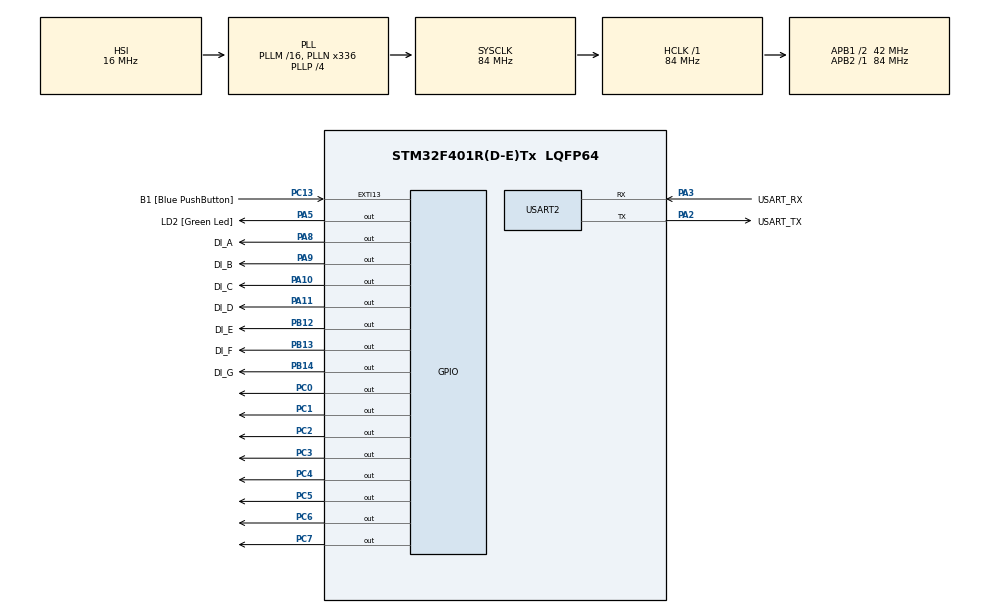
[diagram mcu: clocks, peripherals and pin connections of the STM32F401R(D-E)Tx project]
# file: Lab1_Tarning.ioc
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Mcu.Family=STM32F4
Mcu.Name=STM32F401R(D-E)Tx
Mcu.Package=LQFP64
NVIC.EXTI15_10_IRQn=true\:0\:0\:false\:false\:true\:true\:true\:true
NVIC.PriorityGroup=NVIC_PRIORITYGROUP_0
PA10.GPIO_Label=DI_C
PA10.Signal=GPIO_Output
PA11.GPIO_Label=DI_D
PA11.Signal=GPIO_Output
PA13.GPIO_Label=TMS
PA13.Mode=Serial_Wire
PA13.Signal=SYS_JTMS-SWDIO
PA14.GPIO_Label=TCK
PA14.Mode=Serial_Wire
PA14.Signal=SYS_JTCK-SWCLK
PA2.GPIO_Label=USART_TX
PA2.GPIO_Mode=GPIO_MODE_AF_PP
PA2.GPIO_PuPd=GPIO_NOPULL
PA2.GPIO_Speed=GPIO_SPEED_FREQ_LOW
PA2.Mode=Asynchronous
PA2.Signal=USART2_TX
PA3.GPIO_Label=USART_RX
PA3.GPIO_Mode=GPIO_MODE_AF_PP
PA3.GPIO_PuPd=GPIO_NOPULL
PA3.GPIO_Speed=GPIO_SPEED_FREQ_LOW
PA3.Mode=Asynchronous
PA3.Signal=USART2_RX
PA5.GPIO_Label=LD2 [Green Led]
PA5.GPIO_Mode=GPIO_MODE_OUTPUT_PP
PA5.GPIO_PuPd=GPIO_NOPULL
PA5.GPIO_Speed=GPIO_SPEED_FREQ_LOW
PA5.Signal=GPIO_Output
PA8.GPIO_Label=DI_A
PA8.Signal=GPIO_Output
PA9.GPIO_Label=DI_B
PA9.Signal=GPIO_Output
PB12.GPIO_Label=DI_E
PB12.Signal=GPIO_Output
PB13.GPIO_Label=DI_F
PB13.Signal=GPIO_Output
PB14.GPIO_Label=DI_G
PB14.Signal=GPIO_Output
PB3.GPIO_Label=SWO
PB3.Signal=SYS_JTDO-SWO
PC0.Signal=GPIO_Output
PC1.Signal=GPIO_Output
PC13-ANTI_TAMP.GPIO_Label=B1 [Blue PushButton]
PC13-ANTI_TAMP.GPIO_ModeDefaultEXTI=GPIO_MODE_IT_FALLING
PC13-ANTI_TAMP.GPIO_PuPd=GPIO_NOPULL
PC13-ANTI_TAMP.Signal=GPXTI13
PC14-OSC32_IN.Mode=LSE-External-Oscillator
PC14-OSC32_IN.Signal=RCC_OSC32_IN
PC15-OSC32_OUT.Mode=LSE-External-Oscillator
PC15-OSC32_OUT.Signal=RCC_OSC32_OUT
PC2.Signal=GPIO_Output
PC3.Signal=GPIO_Output
PC4.Signal=GPIO_Output
PC5.Signal=GPIO_Output
PC6.Signal=GPIO_Output
PC7.Signal=GPIO_Output
PH0\ -\ OSC_IN.Mode=HSE-External-Clock-Source
PH0\ -\ OSC_IN.Signal=RCC_OSC_IN
PH1\ -\ OSC_OUT.Mode=HSE-External-Clock-Source
PH1\ -\ OSC_OUT.Signal=RCC_OSC_OUT
ProjectManager.HeapSize=0x200
ProjectManager.StackSize=0x400
ProjectManager.TargetToolchain=STM32CubeIDE
RCC.48MHZClocksFreq_Value=48000000
RCC.AHBFreq_Value=84000000
RCC.APB1CLKDivider=RCC_HCLK_DIV2
RCC.APB1Freq_Value=42000000
RCC.APB1TimFreq_Value=84000000
RCC.APB2Freq_Value=84000000
RCC.APB2TimFreq_Value=84000000
RCC.CortexFreq_Value=84000000
RCC.HCLKFreq_Value=84000000
RCC.HSE_VALUE=8000000
RCC.HSI_VALUE=16000000
RCC.PLLN=336
RCC.PLLP=RCC_PLLP_DIV4
RCC.PLLQ=7
RCC.SYSCLKFreq_VALUE=84000000
RCC.SYSCLKSource=RCC_SYSCLKSOURCE_PLLCLK
RCC.VCOOutputFreq_Value=336000000
USART2.VirtualMode=VM_ASYNC
board=NUCLEO-F401RE

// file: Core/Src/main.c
/* USER CODE BEGIN Header */
/**
  ******************************************************************************
  * @file           : main.c
  * @brief          : Main program body
  ******************************************************************************
  * @attention
  *
  * Copyright (c) 2024 STMicroelectronics.
  * All rights reserved.
  *
  * This software is licensed under terms that can be found in the LICENSE file
  * in the root directory of this software component.
  * If no LICENSE file comes with this software, it is provided AS-IS.
  *
  ******************************************************************************
  */
/* USER CODE END Header */
#include "main.h"

/* USER CODE BEGIN Includes */
/* Global constants ---------------------------------------------------------*/
// Definiera en global array för att representera 7-segment display mönster
const uint8_t sseg[10] = {
    0x3F,  // 0: A, B, C, D, E, F
    0x06,  // 1: B, C
    0x5B,  // 2: A, B, G, E, D
    0x4F,  // 3: A, B, G, C, D
    0x66,  // 4: F, G, B, C
    0x6D,  // 5: A, F, G, C, D
    0x7D,  // 6: A, F, G, E, C, D
    0x07,  // 7: A, B, C
    0x7F,  // 8: A, B, C, D, E, F, G
    0x6F   // 9: A, B, C, D, F, G
};
const uint8_t sseg_err = 0xDC;
/* USER CODE END Includes */

UART_HandleTypeDef huart2;

void SystemClock_Config(void);
static void MX_GPIO_Init(void);
static void MX_USART2_UART_Init(void);
/* USER CODE BEGIN PFP */
int is_blue_button_pressed();
/* USER CODE END PFP */

/* USER CODE BEGIN 0 */

// returns 1 if blue button is pressed
// returns 0 if blue button isn't pressed
int is_blue_button_pressed()
{

	return 0;
}

void put_die_dots(uint8_t die_nbr) {
    // Släck alla dioder först
    HAL_GPIO_WritePin(GPIOA, GPIO_PIN_8, GPIO_PIN_RESET);  // Släck LED1
    HAL_GPIO_WritePin(GPIOA, GPIO_PIN_9, GPIO_PIN_RESET);  // Släck LED2
    HAL_GPIO_WritePin(GPIOA, GPIO_PIN_10, GPIO_PIN_RESET); // Släck LED3
    HAL_GPIO_WritePin(GPIOA, GPIO_PIN_11, GPIO_PIN_RESET); // Släck LED4
    HAL_GPIO_WritePin(GPIOB, GPIO_PIN_12, GPIO_PIN_RESET); // Släck LED5
    HAL_GPIO_WritePin(GPIOB, GPIO_PIN_13, GPIO_PIN_RESET); // Släck LED6
    HAL_GPIO_WritePin(GPIOB, GPIO_PIN_14, GPIO_PIN_RESET); // Släck LED7

    // Switch-sats för att hantera olika tärningsnummer
    switch (die_nbr) {
        case 1:
            // Tänd mittpunkten (LED4, PA11)
            HAL_GPIO_WritePin(GPIOA, GPIO_PIN_11, GPIO_PIN_SET);
            break;
        case 2:
            // Tänd diagonala prickar (LED1, PA8 och LED7, PB14)
            HAL_GPIO_WritePin(GPIOA, GPIO_PIN_10, GPIO_PIN_SET);
            HAL_GPIO_WritePin(GPIOB, GPIO_PIN_12, GPIO_PIN_SET);
            break;
        case 3:
            // Tänd mittpunkten och två diagonala prickar (LED1, PA8, LED4, PA11, LED7, PB14)
            HAL_GPIO_WritePin(GPIOA, GPIO_PIN_10, GPIO_PIN_SET);
            HAL_GPIO_WritePin(GPIOA, GPIO_PIN_11, GPIO_PIN_SET);
            HAL_GPIO_WritePin(GPIOB, GPIO_PIN_12, GPIO_PIN_SET);
            break;
        case 4:
            // Tänd alla fyra hörn (LED1, PA8, LED3, PA10, LED5, PB12, LED7, PB14)
            HAL_GPIO_WritePin(GPIOA, GPIO_PIN_8, GPIO_PIN_SET);
            HAL_GPIO_WritePin(GPIOA, GPIO_PIN_10, GPIO_PIN_SET);
            HAL_GPIO_WritePin(GPIOB, GPIO_PIN_12, GPIO_PIN_SET);
            HAL_GPIO_WritePin(GPIOB, GPIO_PIN_14, GPIO_PIN_SET);
            break;
        case 5:
            // Tänd alla fyra hörn och mittpunkten (LED1, PA8, LED3, PA10, LED4, PA11, LED5, PB12, LED7, PB14)
            HAL_GPIO_WritePin(GPIOA, GPIO_PIN_8, GPIO_PIN_SET);
            HAL_GPIO_WritePin(GPIOA, GPIO_PIN_10, GPIO_PIN_SET);
            HAL_GPIO_WritePin(GPIOA, GPIO_PIN_11, GPIO_PIN_SET);
            HAL_GPIO_WritePin(GPIOB, GPIO_PIN_12, GPIO_PIN_SET);
            HAL_GPIO_WritePin(GPIOB, GPIO_PIN_14, GPIO_PIN_SET);
            break;
        case 6:
            // Tänd alla på sidorna (LED1, PA8, LED2, PA9, LED3, PA10, LED5, PB12, LED6, PB13, LED7, PB14)
            HAL_GPIO_WritePin(GPIOA, GPIO_PIN_8, GPIO_PIN_SET);
            HAL_GPIO_WritePin(GPIOA, GPIO_PIN_9, GPIO_PIN_SET);
            HAL_GPIO_WritePin(GPIOA, GPIO_PIN_10, GPIO_PIN_SET);
            HAL_GPIO_WritePin(GPIOB, GPIO_PIN_12, GPIO_PIN_SET);
            HAL_GPIO_WritePin(GPIOB, GPIO_PIN_13, GPIO_PIN_SET);
            HAL_GPIO_WritePin(GPIOB, GPIO_PIN_14, GPIO_PIN_SET);
            break;
        default:
            // Tänd alla dioder vid ogiltigt värde
            HAL_GPIO_WritePin(GPIOA, GPIO_PIN_8, GPIO_PIN_SET);
            HAL_GPIO_WritePin(GPIOA, GPIO_PIN_9, GPIO_PIN_SET);
            HAL_GPIO_WritePin(GPIOA, GPIO_PIN_10, GPIO_PIN_SET);
            HAL_GPIO_WritePin(GPIOA, GPIO_PIN_11, GPIO_PIN_SET);
            HAL_GPIO_WritePin(GPIOB, GPIO_PIN_12, GPIO_PIN_SET);
            HAL_GPIO_WritePin(GPIOB, GPIO_PIN_13, GPIO_PIN_SET);
            HAL_GPIO_WritePin(GPIOB, GPIO_PIN_14, GPIO_PIN_SET);
            break;
    }
}

void put_on_sseg(uint8_t dec_nbr)
{
	 uint8_t display_value;

	    if (dec_nbr < 10) {
	        display_value = ~sseg [dec_nbr];
	    } else {
	        display_value = ~sseg[sseg_err];
	    }

	    GPIOC->ODR = display_value;
}
/* USER CODE END 0 */
int main(void)
{

  /* MCU Configuration--------------------------------------------------------*/

  /* Reset of all peripherals, Initializes the Flash interface and the Systick. */
  HAL_Init();

  /* Configure the system clock */
  SystemClock_Config();

  /* Initialize all configured peripherals */
  MX_GPIO_Init();
  MX_USART2_UART_Init();
  /* USER CODE BEGIN 2 */
	uint8_t die_value = 1; // 1 <= die_value <= 6
	for(uint8_t i = 0; i <= 9; i++)
		{
			put_on_sseg(i);
			HAL_Delay(333);
		}
	put_on_sseg(1);
  /* USER CODE END 2 */

  /* Infinite loop */
  /* USER CODE BEGIN WHILE */

  int pressed = 0;
  while (1)
  {

	  pressed = HAL_GPIO_ReadPin(B1_GPIO_Port, B1_Pin);
	   if(pressed == GPIO_PIN_RESET)
	     {
	        HAL_GPIO_WritePin(LD2_GPIO_Port, LD2_Pin, GPIO_PIN_SET);
	        die_value = ((rand()%6)+1);
	      /*  die_value++;
	        if (die_value > 6)
	        {
	           die_value = 1;
	        }*/
	        put_die_dots(die_value);
	        put_on_sseg(die_value);

	        HAL_Delay(100);

	     }
	     else
	     {
	          GPIO_TypeDef*    ld2_gpio    = GPIOA;
	          uint16_t        ld2_pin_nbr    = 5;
	          uint16_t        ld2_pin        = 0x01 << ld2_pin_nbr;
	          HAL_GPIO_WritePin(ld2_gpio, ld2_pin, GPIO_PIN_RESET);
	      }

    /* USER CODE END WHILE */

  }
}

void SystemClock_Config(void)
{
  RCC_OscInitTypeDef RCC_OscInitStruct = {0};
  RCC_ClkInitTypeDef RCC_ClkInitStruct = {0};

  /** Configure the main internal regulator output voltage
  */
  __HAL_RCC_PWR_CLK_ENABLE();
  __HAL_PWR_VOLTAGESCALING_CONFIG(PWR_REGULATOR_VOLTAGE_SCALE2);

  /** Initializes the RCC Oscillators according to the specified parameters
  * in the RCC_OscInitTypeDef structure.
  */
  RCC_OscInitStruct.OscillatorType = RCC_OSCILLATORTYPE_HSI;
  RCC_OscInitStruct.HSIState = RCC_HSI_ON;
  RCC_OscInitStruct.HSICalibrationValue = RCC_HSICALIBRATION_DEFAULT;
  RCC_OscInitStruct.PLL.PLLState = RCC_PLL_ON;
  RCC_OscInitStruct.PLL.PLLSource = RCC_PLLSOURCE_HSI;
  RCC_OscInitStruct.PLL.PLLM = 16;
  RCC_OscInitStruct.PLL.PLLN = 336;
  RCC_OscInitStruct.PLL.PLLP = RCC_PLLP_DIV4;
  RCC_OscInitStruct.PLL.PLLQ = 7;
  if (HAL_RCC_OscConfig(&RCC_OscInitStruct) != HAL_OK)
  {
    Error_Handler();
  }

  /** Initializes the CPU, AHB and APB buses clocks
  */
  RCC_ClkInitStruct.ClockType = RCC_CLOCKTYPE_HCLK|RCC_CLOCKTYPE_SYSCLK
                              |RCC_CLOCKTYPE_PCLK1|RCC_CLOCKTYPE_PCLK2;
  RCC_ClkInitStruct.SYSCLKSource = RCC_SYSCLKSOURCE_PLLCLK;
  RCC_ClkInitStruct.AHBCLKDivider = RCC_SYSCLK_DIV1;
  RCC_ClkInitStruct.APB1CLKDivider = RCC_HCLK_DIV2;
  RCC_ClkInitStruct.APB2CLKDivider = RCC_HCLK_DIV1;

  if (HAL_RCC_ClockConfig(&RCC_ClkInitStruct, FLASH_LATENCY_2) != HAL_OK)
  {
    Error_Handler();
  }
}

static void MX_USART2_UART_Init(void)
{

  huart2.Instance = USART2;
  huart2.Init.BaudRate = 115200;
  huart2.Init.WordLength = UART_WORDLENGTH_8B;
  huart2.Init.StopBits = UART_STOPBITS_1;
  huart2.Init.Parity = UART_PARITY_NONE;
  huart2.Init.Mode = UART_MODE_TX_RX;
  huart2.Init.HwFlowCtl = UART_HWCONTROL_NONE;
  huart2.Init.OverSampling = UART_OVERSAMPLING_16;
  if (HAL_UART_Init(&huart2) != HAL_OK)
  {
    Error_Handler();
  }

}

static void MX_GPIO_Init(void)
{
  GPIO_InitTypeDef GPIO_InitStruct = {0};

  /* GPIO Ports Clock Enable */
  __HAL_RCC_GPIOC_CLK_ENABLE();
  __HAL_RCC_GPIOH_CLK_ENABLE();
  __HAL_RCC_GPIOA_CLK_ENABLE();
  __HAL_RCC_GPIOB_CLK_ENABLE();

  /*Configure GPIO pin Output Level */
  HAL_GPIO_WritePin(GPIOC, GPIO_PIN_0|GPIO_PIN_1|GPIO_PIN_2|GPIO_PIN_3
                          |GPIO_PIN_4|GPIO_PIN_5|GPIO_PIN_6|GPIO_PIN_7, GPIO_PIN_RESET);

  /*Configure GPIO pin Output Level */
  HAL_GPIO_WritePin(GPIOA, LD2_Pin|DI_A_Pin|DI_B_Pin|DI_C_Pin
                          |DI_D_Pin, GPIO_PIN_RESET);

  /*Configure GPIO pin Output Level */
  HAL_GPIO_WritePin(GPIOB, DI_E_Pin|DI_F_Pin|DI_G_Pin, GPIO_PIN_RESET);

  /*Configure GPIO pin : B1_Pin */
  GPIO_InitStruct.Pin = B1_Pin;
  GPIO_InitStruct.Mode = GPIO_MODE_IT_FALLING;
  GPIO_InitStruct.Pull = GPIO_NOPULL;
  HAL_GPIO_Init(B1_GPIO_Port, &GPIO_InitStruct);

  /*Configure GPIO pins : PC0 PC1 PC2 PC3
                           PC4 PC5 PC6 PC7 */
  GPIO_InitStruct.Pin = GPIO_PIN_0|GPIO_PIN_1|GPIO_PIN_2|GPIO_PIN_3
                          |GPIO_PIN_4|GPIO_PIN_5|GPIO_PIN_6|GPIO_PIN_7;
  GPIO_InitStruct.Mode = GPIO_MODE_OUTPUT_PP;
  GPIO_InitStruct.Pull = GPIO_NOPULL;
  GPIO_InitStruct.Speed = GPIO_SPEED_FREQ_LOW;
  HAL_GPIO_Init(GPIOC, &GPIO_InitStruct);

  /*Configure GPIO pins : LD2_Pin DI_A_Pin DI_B_Pin DI_C_Pin
                           DI_D_Pin */
  GPIO_InitStruct.Pin = LD2_Pin|DI_A_Pin|DI_B_Pin|DI_C_Pin
                          |DI_D_Pin;
  GPIO_InitStruct.Mode = GPIO_MODE_OUTPUT_PP;
  GPIO_InitStruct.Pull = GPIO_NOPULL;
  GPIO_InitStruct.Speed = GPIO_SPEED_FREQ_LOW;
  HAL_GPIO_Init(GPIOA, &GPIO_InitStruct);

  /*Configure GPIO pins : DI_E_Pin DI_F_Pin DI_G_Pin */
  GPIO_InitStruct.Pin = DI_E_Pin|DI_F_Pin|DI_G_Pin;
  GPIO_InitStruct.Mode = GPIO_MODE_OUTPUT_PP;
  GPIO_InitStruct.Pull = GPIO_NOPULL;
  GPIO_InitStruct.Speed = GPIO_SPEED_FREQ_LOW;
  HAL_GPIO_Init(GPIOB, &GPIO_InitStruct);

  /* EXTI interrupt init*/
  HAL_NVIC_SetPriority(EXTI15_10_IRQn, 0, 0);
  HAL_NVIC_EnableIRQ(EXTI15_10_IRQn);

}

void Error_Handler(void)
{
  __disable_irq();
  while (1)
  {
  }
}
